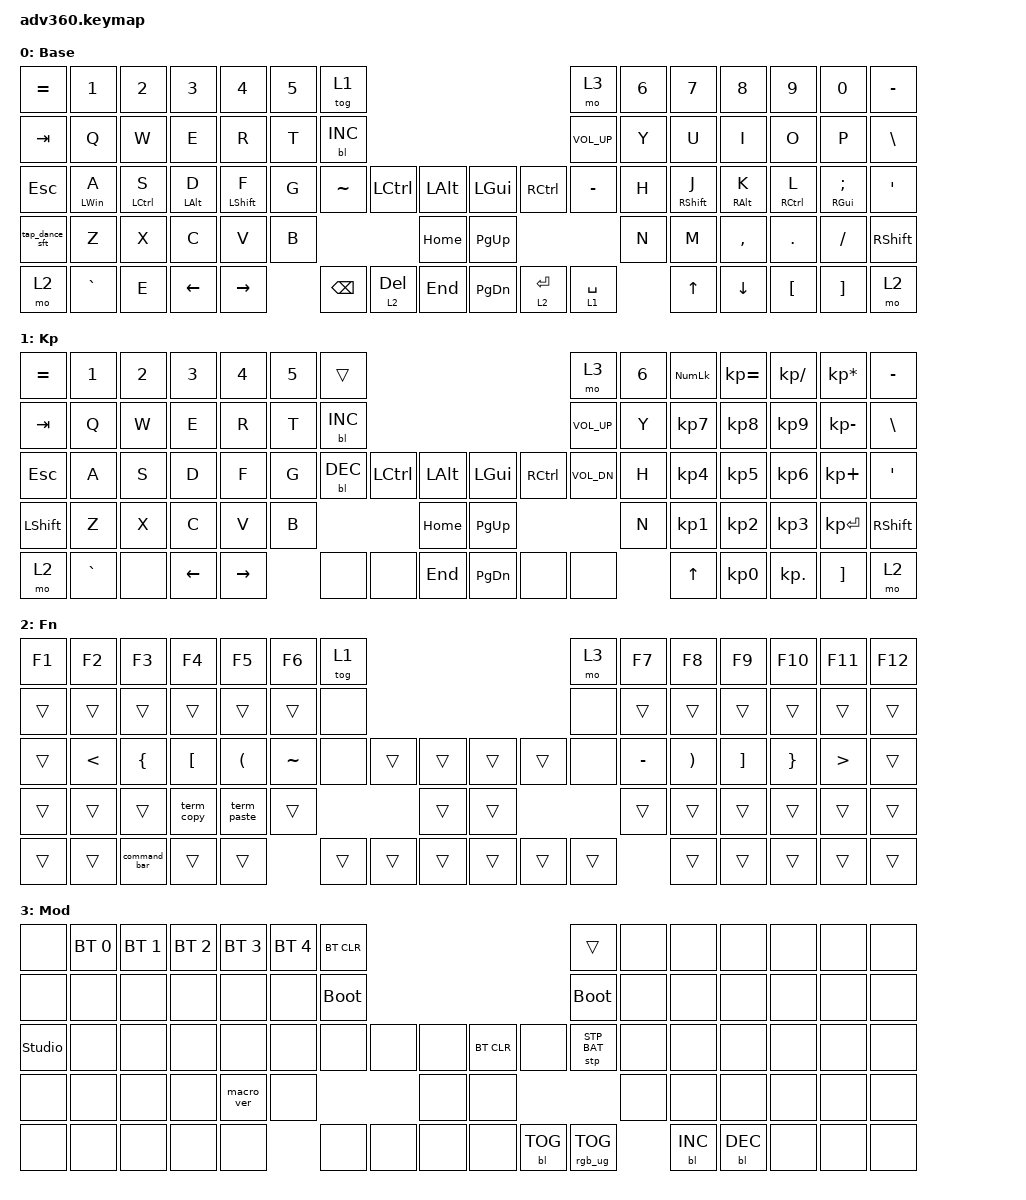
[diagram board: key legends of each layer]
#include <dt-bindings/zmk/stp.h>
#include <behaviors.dtsi>
#include <dt-bindings/zmk/backlight.h>
#include <dt-bindings/zmk/bt.h>
#include <dt-bindings/zmk/keys.h>
#include <dt-bindings/zmk/rgb.h>

/ {
    behaviors {
        #include "macros.dtsi"
      #include "version.dtsi"

        hm: homerow_mods {
            compatible = "zmk,behavior-hold-tap";
            label = "HOMEROW_MODS";
            #binding-cells = <2>;
            tapping-term-ms = <200>;
            quick_tap_ms = <175>;
            flavor = "tap-preferred";
            bindings = <&kp>, <&kp>;
        };

        tap_dance_sft: tap_dance_sft {
            compatible = "zmk,behavior-tap-dance";
            label = "TAP_DANCE_SFT";
            #binding-cells = <0>;
            bindings = <&kp LSHFT>, <&kp CAPS>;
        };

        HRML: HRML {
            compatible = "zmk,behavior-hold-tap";
            label = "HRML";
            bindings = <&kp>, <&kp>;

            #binding-cells = <2>;
            tapping-term-ms = <600>;
            flavor = "tap-preferred";
            require-prior-idle-ms = <125>;
            quick-tap-ms = <125>;
            hold-trigger-key-positions = <7 8 9 10 11 12 13 21 22 23 24 25 26 27 39 40 41 42 43 44 45 54 55 56 57 58 59 71 72 73 74 75>;
            hold-trigger-on-release;
        };

        HRMR: HRMR {
            compatible = "zmk,behavior-hold-tap";
            label = "HRMR";
            bindings = <&kp>, <&kp>;

            #binding-cells = <2>;
            tapping-term-ms = <1000>;
            flavor = "tap-preferred";
            require-prior-idle-ms = <125>;
            hold-trigger-key-positions = <0 1 2 3 4 5 6 14 15 16 17 18 19 20 28 29 30 31 32 33 34 46 47 48 49 50 51 60 61 62 63 64>;
            quick-tap-ms = <125>;
            hold-trigger-on-release;
        };
    };

    macros {
        term_copy: term_copy {
            compatible = "zmk,behavior-macro";
            #binding-cells = <0>;
            bindings =
                <&macro_press>,
                <&kp LEFT_CONTROL &kp LEFT_SHIFT>,
                <&macro_tap>,
                <&kp C>,
                <&macro_release>,
                <&kp LEFT_CONTROL &kp LEFT_SHIFT>;

            label = "TERM_COPY";
        };

        term_paste: term_paste {
            compatible = "zmk,behavior-macro";
            #binding-cells = <0>;
            bindings =
                <&macro_press>,
                <&kp LEFT_CONTROL &kp LEFT_SHIFT>,
                <&macro_tap>,
                <&kp V>,
                <&macro_release>,
                <&kp LEFT_CONTROL &kp LEFT_SHIFT>;

            label = "TERM_PASTE";
        };

        command_bar: command_bar {
            compatible = "zmk,behavior-macro";
            #binding-cells = <0>;
            bindings =
                <&macro_press>,
                <&kp LEFT_CONTROL &kp LEFT_SHIFT>,
                <&macro_tap>,
                <&kp P>,
                <&macro_release>,
                <&kp LEFT_CONTROL &kp LEFT_SHIFT>;

            label = "COMMAND_BAR";
        };
    };

    keymap {
        compatible = "zmk,keymap";

        default_layer {
            display-name = "Base";
            bindings = <
&kp EQUAL       &kp N1          &kp N2       &kp N3          &kp N4       &kp N5  &tog 1                                                             &mo 3            &kp N6  &kp N7       &kp N8           &kp N9               &kp N0              &kp MINUS
&kp TAB         &kp Q           &kp W        &kp E           &kp R        &kp T   &bl BL_INC                                                         &kp C_VOLUME_UP  &kp Y   &kp U        &kp I            &kp O                &kp P               &kp BSLH
&kp ESC         &hm LEFT_WIN A  &hm LCTRL S  &hm LEFT_ALT D  &hm LSHFT F  &kp G   &kp TILDE      &kp LCTRL     &kp LALT      &kp LGUI   &kp RCTRL    &kp MINUS        &kp H   &hm RSHFT J  &hm RIGHT_ALT K  &hm RIGHT_CONTROL L  &hm RGUI SEMICOLON  &kp SQT
&tap_dance_sft  &kp Z           &kp X        &kp C           &kp V        &kp B                                &kp HOME      &kp PG_UP                                &kp N   &kp M        &kp COMMA        &kp DOT              &kp FSLH            &kp RSHFT
&mo 2           &kp GRAVE       &kp E        &kp LEFT        &kp RIGHT            &kp BACKSPACE  &lt 2 DELETE  &kp END       &kp PG_DN  &lt 2 ENTER  &lt 1 SPACE              &kp UP       &kp DOWN         &kp LBKT             &kp RBKT            &mo 2
            >;
        };

        keypad {
            display-name = "Kp";
            bindings = <
&kp EQUAL  &kp N1     &kp N2  &kp N3    &kp N4     &kp N5  &trans                                                     &mo 3            &kp N6  &kp KP_NUM  &kp KP_EQUAL     &kp KP_DIVIDE  &kp KP_MULTIPLY  &kp MINUS
&kp TAB    &kp Q      &kp W   &kp E     &kp R      &kp T   &bl BL_INC                                                 &kp C_VOLUME_UP  &kp Y   &kp KP_N7   &kp KP_N8        &kp KP_N9      &kp KP_MINUS     &kp BSLH
&kp ESC    &kp A      &kp S   &kp D     &kp F      &kp G   &bl BL_DEC  &kp LCTRL  &kp LALT      &kp LGUI   &kp RCTRL  &kp C_VOL_DN     &kp H   &kp KP_N4   &kp KP_N5        &kp KP_N6      &kp KP_PLUS      &kp SQT
&kp LSHFT  &kp Z      &kp X   &kp C     &kp V      &kp B                          &kp HOME      &kp PG_UP                              &kp N   &kp KP_N1   &kp KP_N2        &kp KP_N3      &kp KP_ENTER     &kp RSHFT
&mo 2      &kp GRAVE  &none   &kp LEFT  &kp RIGHT          &none       &none      &kp END       &kp PG_DN  &none      &none                    &kp UP      &kp KP_NUMBER_0  &kp KP_DOT     &kp RBKT         &mo 2
            >;
        };

        fn {
            display-name = "Fn";
            bindings = <
&kp F1  &kp F2         &kp F3          &kp F4            &kp F5                &kp F6     &tog 1                                      &mo 3   &kp F7     &kp F8                 &kp F9             &kp F10          &kp F11           &kp F12
&trans  &trans         &trans          &trans            &trans                &trans     &none                                       &none   &trans     &trans                 &trans             &trans           &trans            &trans
&trans  &kp LESS_THAN  &kp LEFT_BRACE  &kp LEFT_BRACKET  &kp LEFT_PARENTHESIS  &kp TILDE  &none   &trans  &trans      &trans  &trans  &none   &kp MINUS  &kp RIGHT_PARENTHESIS  &kp RIGHT_BRACKET  &kp RIGHT_BRACE  &kp GREATER_THAN  &trans
&trans  &trans         &trans          &term_copy        &term_paste           &trans                     &trans      &trans                  &trans     &trans                 &trans             &trans           &trans            &trans
&trans  &trans         &command_bar    &trans            &trans                           &trans  &trans  &trans      &trans  &trans  &trans             &trans                 &trans             &trans           &trans            &trans
            >;
        };

        mod {
            display-name = "Mod";
            bindings = <
&none           &bt BT_SEL 0  &bt BT_SEL 1  &bt BT_SEL 2  &bt BT_SEL 3  &bt BT_SEL 4  &bt BT_CLR                                             &trans           &none  &none       &none       &none  &none  &none
&none           &none         &none         &none         &none         &none         &bootloader                                            &bootloader      &none  &none       &none       &none  &none  &none
&studio_unlock  &none         &none         &none         &none         &none         &none        &none  &none      &bt BT_CLR  &none       &stp STP_BAT     &none  &none       &none       &none  &none  &none
&none           &none         &none         &none         &macro_ver    &none                             &none      &none                                    &none  &none       &none       &none  &none  &none
&none           &none         &none         &none         &none                       &none        &none  &none      &none       &bl BL_TOG  &rgb_ug RGB_TOG         &bl BL_INC  &bl BL_DEC  &none  &none  &none
            >;
        };

        extra1 {
            display-name = "Red";
            status = "reserved";
        };

        extra2 {
            display-name = "Purple";
            status = "reserved";
        };

        extra3 {
            display-name = "Cyan";
            status = "reserved";
        };

        extra4 {
            display-name = "Yellow";
            status = "reserved";
        };
    };
};
